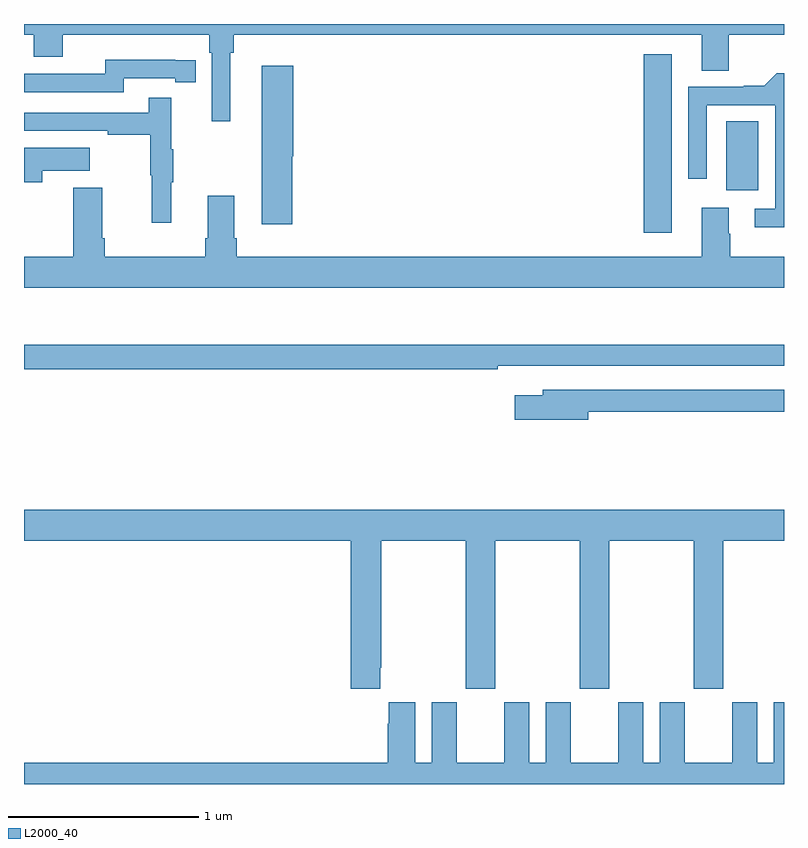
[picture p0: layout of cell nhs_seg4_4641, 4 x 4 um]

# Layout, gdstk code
import gdstk
lib = gdstk.Library(unit=1e-6, precision=1e-09)
def R(c, l, rs):  # rectangles x0, y0, x1, y1
    for r in rs: c.add(gdstk.rectangle(r[:2], r[2:], *l))
def P(c, l, *ps):  # polygons
    for p in ps: c.add(gdstk.Polygon(p, *l))
L2000_40 = (2000, 40)

nhs_seg4_4641 = lib.new_cell('nhs_seg4_4641')
R(nhs_seg4_4641, L2000_40, [(364.262,771.801,364.408,772.741), (364.697,772.026,364.864,772.388)])
P(nhs_seg4_4641, L2000_40, [(361,772.844),(361.052,772.844),(361.052,772.727),(361.204,772.727),(361.204,772.844),(361.976,772.844),(361.976,772.748),(361.989,772.748),(361.989,772.389),(362.086,772.389),(362.086,772.748),(362.105,772.748),(362.105,772.844),(364.568,772.844),(364.568,772.654),(364.708,772.654),(364.708,772.844),(365,772.844),(365,772.9),(361,772.9)],
  [(361.524,772.614),(361.796,772.614),(361.796,772.594),(361.904,772.594),(361.904,772.71),(361.796,772.71),(361.796,772.711),(361.428,772.711),(361.428,772.638),(361,772.638),(361,772.542),(361.524,772.542)],
  [(362.411,772.203),(362.416,772.203),(362.416,772.681),(362.252,772.681),(362.252,771.846),(362.411,771.846)],
  [(365,772.64),(364.961,772.64),(364.895,772.574),(364.787,772.574),(364.787,772.569),(364.497,772.569),(364.497,772.086),(364.593,772.086),(364.593,772.473),(364.953,772.473),(364.953,771.927),(364.845,771.927),(364.845,771.83),(365,771.83)],
  [(361.775,772.067),(361.786,772.067),(361.786,772.241),(361.775,772.241),(361.775,772.513),(361.657,772.513),(361.657,772.434),(361,772.434),(361,772.338),(361.441,772.338),(361.441,772.318),(361.665,772.318),(361.665,772.104),(361.672,772.104),(361.672,771.855),(361.775,771.855)],
  [(361.097,772.127),(361.345,772.127),(361.345,772.249),(361,772.249),(361,772.068),(361.097,772.068)],
  [(365,771.676),(364.716,771.676),(364.716,771.797),(364.708,771.797),(364.708,771.934),(364.568,771.934),(364.568,771.676),(362.12,771.676),(362.12,771.772),(362.107,771.772),(362.107,771.997),(361.967,771.997),(361.967,771.772),(361.955,771.772),(361.955,771.676),(361.424,771.676),(361.424,771.772),(361.411,771.772),(361.411,772.039),(361.259,772.039),(361.259,771.676),(361,771.676),(361,771.512),(365,771.512)],
  [(363.494,771.102),(365,771.102),(365,771.211),(361,771.211),(361,771.082),(363.494,771.082)],
  [(363.97,770.86),(365,770.86),(365,770.976),(363.731,770.976),(363.731,770.947),(363.582,770.947),(363.582,770.818),(363.97,770.818)],
  [(362.875,769.513),(362.88,769.513),(362.88,770.18),(363.325,770.18),(363.325,769.401),(363.48,769.401),(363.48,770.18),(363.925,770.18),(363.925,769.401),(364.08,769.401),(364.08,770.18),(364.525,770.18),(364.525,769.401),(364.68,769.401),(364.68,770.18),(365,770.18),(365,770.344),(361,770.344),(361,770.18),(362.72,770.18),(362.72,769.401),(362.875,769.401)],
  [(365,769.33),(364.946,769.33),(364.946,769.012),(364.858,769.012),(364.858,769.33),(364.727,769.33),(364.727,769.012),(364.477,769.012),(364.477,769.33),(364.346,769.33),(364.346,769.012),(364.258,769.012),(364.258,769.33),(364.127,769.33),(364.127,769.012),(363.877,769.012),(363.877,769.33),(363.746,769.33),(363.746,769.012),(363.658,769.012),(363.658,769.33),(363.527,769.33),(363.527,769.012),(363.277,769.012),(363.277,769.33),(363.146,769.33),(363.146,769.012),(363.058,769.012),(363.058,769.33),(362.921,769.33),(362.921,769.217),(362.915,769.217),(362.915,769.012),(361,769.012),(361,768.9),(365,768.9)])

lib.write_gds('nhs_seg4_4641.gds')
